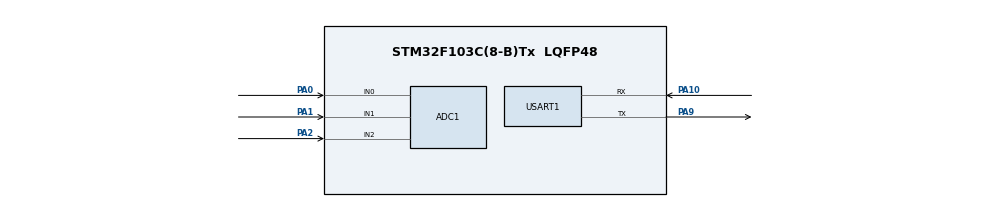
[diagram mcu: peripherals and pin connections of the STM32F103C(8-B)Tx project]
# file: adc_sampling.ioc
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ADC1.Channel-0\#ChannelRegularConversion=ADC_CHANNEL_0
ADC1.Channel-1\#ChannelRegularConversion=ADC_CHANNEL_1
ADC1.Channel-2\#ChannelRegularConversion=ADC_CHANNEL_2
ADC1.ContinuousConvMode=DISABLE
ADC1.NbrOfConversionFlag=3
ADC1.Rank-0\#ChannelRegularConversion=1
ADC1.Rank-1\#ChannelRegularConversion=2
ADC1.Rank-2\#ChannelRegularConversion=3
ADC1.SamplingTime-0\#ChannelRegularConversion=ADC_SAMPLETIME_239CYCLES_5
ADC1.SamplingTime-1\#ChannelRegularConversion=ADC_SAMPLETIME_239CYCLES_5
ADC1.SamplingTime-2\#ChannelRegularConversion=ADC_SAMPLETIME_239CYCLES_5
ADC1.master=1
Mcu.Family=STM32F1
Mcu.Name=STM32F103C(8-B)Tx
Mcu.Package=LQFP48
NVIC.PriorityGroup=NVIC_PRIORITYGROUP_4
PA0-WKUP.Signal=ADCx_IN0
PA1.Signal=ADCx_IN1
PA10.Mode=Asynchronous
PA10.Signal=USART1_RX
PA2.Signal=ADCx_IN2
PA9.Mode=Asynchronous
PA9.Signal=USART1_TX
PD0-OSC_IN.Mode=HSE-External-Oscillator
PD0-OSC_IN.Signal=RCC_OSC_IN
PD1-OSC_OUT.Mode=HSE-External-Oscillator
PD1-OSC_OUT.Signal=RCC_OSC_OUT
ProjectManager.HeapSize=0x200
ProjectManager.StackSize=0x400
ProjectManager.TargetToolchain=STM32CubeIDE
RCC.APB1Freq_Value=8000000
RCC.APB2Freq_Value=8000000
SH.ADCx_IN0.0=ADC1_IN0,IN0
SH.ADCx_IN1.0=ADC1_IN1,IN1
SH.ADCx_IN2.0=ADC1_IN2,IN2
USART1.VirtualMode=VM_ASYNC
board=custom

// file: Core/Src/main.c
/* USER CODE BEGIN Header */
/**
  ******************************************************************************
  * @file           : main.c
  * @brief          : Main program body
  ******************************************************************************
  * @attention
  *
  * Copyright (c) 2026 STMicroelectronics.
  * All rights reserved.
  *
  * This software is licensed under terms that can be found in the LICENSE file
  * in the root directory of this software component.
  * If no LICENSE file comes with this software, it is provided AS-IS.
  *
  ******************************************************************************
  */
/* USER CODE END Header */
#include "main.h"

/* USER CODE BEGIN Includes */
#include "adc_driver.h"
#include <stdio.h>

#define ADC_USE_DMA  0
/* USER CODE END Includes */

ADC_HandleTypeDef hadc1;

UART_HandleTypeDef huart1;

/* USER CODE BEGIN PV */
DMA_HandleTypeDef hdma_adc1;
/* USER CODE END PV */

void SystemClock_Config(void);
static void MX_GPIO_Init(void);
static void MX_ADC1_Init(void);
static void MX_USART1_UART_Init(void);

/* USER CODE BEGIN 0 */
int __io_putchar(int ch)
{
    HAL_UART_Transmit(&huart1, (uint8_t *)&ch, 1, 100);
    return ch;
}
/* USER CODE END 0 */

int main(void)
{

  /* MCU Configuration--------------------------------------------------------*/

  /* Reset of all peripherals, Initializes the Flash interface and the Systick. */
  HAL_Init();

  /* Configure the system clock */
  SystemClock_Config();

  /* Initialize all configured peripherals */
  MX_GPIO_Init();
  MX_ADC1_Init();
  MX_USART1_UART_Init();
  /* USER CODE BEGIN 2 */
  HAL_Delay(100);
#if ADC_USE_DMA
  printf("===== 三通道 ADC DMA 扫描 =====\r\n");
#else
  printf("===== 单通道 ADC 轮询 =====\r\n");
#endif
  /* USER CODE END 2 */

  /* Infinite loop */
  /* USER CODE BEGIN WHILE */
  while (1)
  {
#if ADC_USE_DMA
    if (ADC_DMA_SampleBlock()) {
        printf("IN0=%lumV IN1=%lumV IN2=%lumV\r\n",
               (unsigned long)ADC_GetChannelMilliVolt(0),
               (unsigned long)ADC_GetChannelMilliVolt(1),
               (unsigned long)ADC_GetChannelMilliVolt(2));
    }
    HAL_Delay(200);
#else
    {
        uint16_t raw = ADC_Read();
        float v = ADC_ReadVoltage();
        static uint32_t n;
        printf("[%4lu] ADC=%4u  V=%.3f\r\n", n++, raw, v);
        HAL_Delay(500);
    }
#endif
    /* USER CODE END WHILE */

  }
}

void SystemClock_Config(void)
{
  RCC_OscInitTypeDef RCC_OscInitStruct = {0};
  RCC_ClkInitTypeDef RCC_ClkInitStruct = {0};
  RCC_PeriphCLKInitTypeDef PeriphClkInit = {0};

  /** Initializes the RCC Oscillators according to the specified parameters
  * in the RCC_OscInitTypeDef structure.
  */
  RCC_OscInitStruct.OscillatorType = RCC_OSCILLATORTYPE_HSI;
  RCC_OscInitStruct.HSIState = RCC_HSI_ON;
  RCC_OscInitStruct.HSICalibrationValue = RCC_HSICALIBRATION_DEFAULT;
  RCC_OscInitStruct.PLL.PLLState = RCC_PLL_NONE;
  if (HAL_RCC_OscConfig(&RCC_OscInitStruct) != HAL_OK)
  {
    Error_Handler();
  }

  /** Initializes the CPU, AHB and APB buses clocks
  */
  RCC_ClkInitStruct.ClockType = RCC_CLOCKTYPE_HCLK|RCC_CLOCKTYPE_SYSCLK
                              |RCC_CLOCKTYPE_PCLK1|RCC_CLOCKTYPE_PCLK2;
  RCC_ClkInitStruct.SYSCLKSource = RCC_SYSCLKSOURCE_HSI;
  RCC_ClkInitStruct.AHBCLKDivider = RCC_SYSCLK_DIV1;
  RCC_ClkInitStruct.APB1CLKDivider = RCC_HCLK_DIV1;
  RCC_ClkInitStruct.APB2CLKDivider = RCC_HCLK_DIV1;

  if (HAL_RCC_ClockConfig(&RCC_ClkInitStruct, FLASH_LATENCY_0) != HAL_OK)
  {
    Error_Handler();
  }
  PeriphClkInit.PeriphClockSelection = RCC_PERIPHCLK_ADC;
  PeriphClkInit.AdcClockSelection = RCC_ADCPCLK2_DIV2;
  if (HAL_RCCEx_PeriphCLKConfig(&PeriphClkInit) != HAL_OK)
  {
    Error_Handler();
  }
}

static void MX_ADC1_Init(void)
{

  ADC_ChannelConfTypeDef sConfig = {0};

  /** Common config
  */
  hadc1.Instance = ADC1;
  hadc1.Init.ScanConvMode = ADC_SCAN_DISABLE;
  hadc1.Init.ContinuousConvMode = DISABLE;
  hadc1.Init.DiscontinuousConvMode = DISABLE;
  hadc1.Init.ExternalTrigConv = ADC_SOFTWARE_START;
  hadc1.Init.DataAlign = ADC_DATAALIGN_RIGHT;
  hadc1.Init.NbrOfConversion = 1;
  if (HAL_ADC_Init(&hadc1) != HAL_OK)
  {
    Error_Handler();
  }

  /** Configure Regular Channel
  */
  sConfig.Channel = ADC_CHANNEL_0;
  sConfig.Rank = ADC_REGULAR_RANK_1;
  sConfig.SamplingTime = ADC_SAMPLETIME_239CYCLES_5;
  if (HAL_ADC_ConfigChannel(&hadc1, &sConfig) != HAL_OK)
  {
    Error_Handler();
  }

  /** Configure Regular Channel
  */
  sConfig.Channel = ADC_CHANNEL_1;
  sConfig.Rank = ADC_REGULAR_RANK_2;
  if (HAL_ADC_ConfigChannel(&hadc1, &sConfig) != HAL_OK)
  {
    Error_Handler();
  }

  /** Configure Regular Channel
  */
  sConfig.Channel = ADC_CHANNEL_2;
  sConfig.Rank = ADC_REGULAR_RANK_3;
  if (HAL_ADC_ConfigChannel(&hadc1, &sConfig) != HAL_OK)
  {
    Error_Handler();
  }

}

static void MX_USART1_UART_Init(void)
{

  huart1.Instance = USART1;
  huart1.Init.BaudRate = 115200;
  huart1.Init.WordLength = UART_WORDLENGTH_8B;
  huart1.Init.StopBits = UART_STOPBITS_1;
  huart1.Init.Parity = UART_PARITY_NONE;
  huart1.Init.Mode = UART_MODE_TX_RX;
  huart1.Init.HwFlowCtl = UART_HWCONTROL_NONE;
  huart1.Init.OverSampling = UART_OVERSAMPLING_16;
  if (HAL_UART_Init(&huart1) != HAL_OK)
  {
    Error_Handler();
  }

}

static void MX_GPIO_Init(void)
{

  /* GPIO Ports Clock Enable */
  __HAL_RCC_GPIOD_CLK_ENABLE();
  __HAL_RCC_GPIOA_CLK_ENABLE();

}

void Error_Handler(void)
{
  __disable_irq();
  while (1)
  {
  }
}
